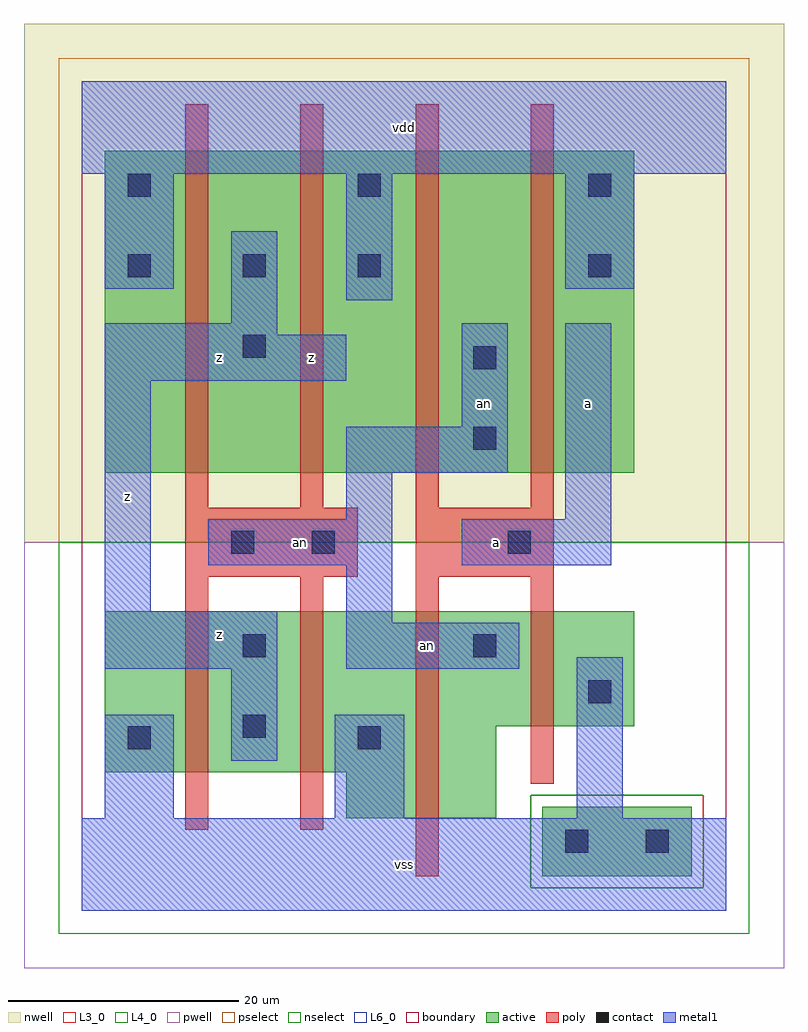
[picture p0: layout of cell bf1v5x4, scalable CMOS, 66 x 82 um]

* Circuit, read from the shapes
.subckt bf1v5x4 a an vdd vss z
M1 z an vss vss nfet w=14u l=2u m=2
M2 an a vss vss nfet w=18u l=2u
M3 vss a an vss nfet w=10u l=2u
M4 z an vdd n1 pfet w=28u l=2u m=2
M5 an a vdd n1 pfet w=28u l=2u m=2
.ends

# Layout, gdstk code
import gdstk
lib = gdstk.Library(unit=1e-6, precision=1e-09)
def R(c, l, rs):  # rectangles x0, y0, x1, y1
    for r in rs: c.add(gdstk.rectangle(r[:2], r[2:], *l))
def A(c, l, x, y, w, h, nx, ny, dx, dy):  # array of equal rectangles
    R(c, l, [(x+i*dx, y+j*dy, x+i*dx+w, y+j*dy+h) for i in range(nx) for j in range(ny)])
L3_0 = (3, 0)
L4_0 = (4, 0)
L6_0 = (6, 0)
contact = (25, 0)
pwell = (41, 0)
nwell = (42, 0)
active = (43, 0)
pselect = (44, 0)
nselect = (45, 0)
poly = (46, 0)
metal1 = (49, 0)
boundary = (63, 0)

bf1v5x4 = lib.new_cell('bf1v5x4')
R(bf1v5x4, L3_0, [(23,8,36,12), (2,12,36,16), (2,16,48,26)])
R(bf1v5x4, L4_0, [(2,38,48,66)])
R(bf1v5x4, L6_0, [(40,3,53,9)])
A(bf1v5x4, contact, 4, 55, 2, 2, 3, 1, 10, 0)
A(bf1v5x4, contact, 4, 62, 2, 2, 3, 1, 20, 0)
R(bf1v5x4, contact, [(42,5,44,7), (49,5,51,7), (4,14,6,16), (24,14,26,16), (14,15,16,17), (44,18,46,20), (14,22,16,24), (34,22,36,24), (13,31,15,33), (20,31,22,33), (37,31,39,33), (34,40,36,42), (34,47,36,49), (14,48,16,50), (44,55,46,57)])
R(bf1v5x4, pwell, [(-5,-5,61,32)])
R(bf1v5x4, nwell, [(-5,32,61,77)])
R(bf1v5x4, active, [(40,3,53,9), (23,8,36,12), (2,12,36,16), (2,16,48,26), (2,38,48,66)])
R(bf1v5x4, pselect, [(39,2,54,10), (-2,32,58,74)])
R(bf1v5x4, nselect, [(-2,-2,58,2), (-2,2,39,10), (54,2,58,10), (-2,10,58,32)])
A(bf1v5x4, poly, 9, 35, 2, 35, 4, 1, 10, 0)
R(bf1v5x4, poly, [(29,3,31,29), (9,7,11,29), (19,7,21,29), (39,11,41,29), (9,29,24,35), (29,29,41,35)])
R(bf1v5x4, metal1, [(0,0,56,8), (2,8,8,17), (22,8,28,17), (43,8,47,22), (13,13,17,21), (2,21,17,26), (23,21,38,25), (23,25,27,30), (2,26,6,46), (11,30,27,34), (33,30,46,34), (23,34,27,38), (42,34,46,51), (23,38,37,42), (33,42,37,51), (2,46,23,50), (2,50,17,51), (13,51,17,59), (23,53,27,64), (2,54,8,64), (42,54,48,64), (0,64,56,72)])
R(bf1v5x4, boundary, [(0,0,56,72)])
bf1v5x4.add(gdstk.Label('an', (19,32), layer=49, texttype=0))
bf1v5x4.add(gdstk.Label('an', (30,23), layer=49, texttype=0))
bf1v5x4.add(gdstk.Label('an', (35,44), layer=49, texttype=0))
bf1v5x4.add(gdstk.Label('z', (4,36), layer=49, texttype=0))
bf1v5x4.add(gdstk.Label('z', (12,24), layer=49, texttype=0))
bf1v5x4.add(gdstk.Label('z', (12,48), layer=49, texttype=0))
bf1v5x4.add(gdstk.Label('z', (20,48), layer=49, texttype=0))
bf1v5x4.add(gdstk.Label('vss', (28,4), layer=49, texttype=0))
bf1v5x4.add(gdstk.Label('a', (36,32), layer=49, texttype=0))
bf1v5x4.add(gdstk.Label('vdd', (28,68), layer=49, texttype=0))
bf1v5x4.add(gdstk.Label('a', (44,44), layer=49, texttype=0))

lib.write_gds('bf1v5x4.gds')
